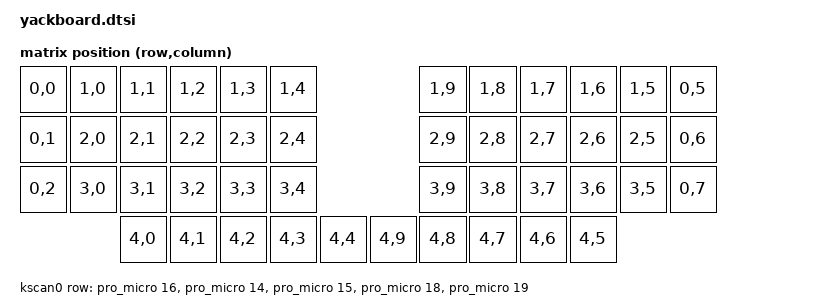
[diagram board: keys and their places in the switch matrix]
#include <dt-bindings/zmk/matrix_transform.h>

#define L_DEF  0
#define L_NUM  1
#define L_NAV  2
#define L_FUN  3
#define L_BLE  4

/ {
  chosen {
    zmk,kscan = &kscan0;
    zmk,matrix_transform = &default_transform;
  };

  default_transform: keymap_transform_0 {
    compatible = "zmk,matrix-transform";
    columns = <10>;
    rows = <5>;

// +-------+-------+-------+-------+-------+-------+                       +-------+-------+-------+-------+-------+-------+
// |       |       |       |       |       |       |                       |       |       |       |       |       |       |
// +-------+-------+-------+-------+-------+-------+                       +-------+-------+-------+-------+-------+-------+
// |       |       |       |       |       |       |                       |       |       |       |       |       |       |
// +-------+-------+-------+-------+-------+-------+                       +-------+-------+-------+-------+-------+-------+
// |       |       |       |       |       |       |                       |       |       |       |       |       |       |
// +-------+-------+-------+-------+-------+-------+-------+       +-------+-------+-------+-------+-------+-------+-------+
//                 |       |       |       |       |       |       |       |       |       |       |       |
//                 +-------+-------+-------+-------+-------+       +-------+-------+-------+-------+-------+

  map = <
    RC(0,0) RC(1,0) RC(1,1) RC(1,2) RC(1,3) RC(1,4)                         RC(1,9) RC(1,8) RC(1,7) RC(1,6) RC(1,5) RC(0,5)
    RC(0,1) RC(2,0) RC(2,1) RC(2,2) RC(2,3) RC(2,4)                         RC(2,9) RC(2,8) RC(2,7) RC(2,6) RC(2,5) RC(0,6)
    RC(0,2) RC(3,0) RC(3,1) RC(3,2) RC(3,3) RC(3,4)                         RC(3,9) RC(3,8) RC(3,7) RC(3,6) RC(3,5) RC(0,7)
                    RC(4,0) RC(4,1) RC(4,2) RC(4,3) RC(4,4)         RC(4,9) RC(4,8) RC(4,7) RC(4,6) RC(4,5)
    >;
  };

  kscan0: kscan_0 {
    compatible = "zmk,kscan-gpio-matrix";
    label = "KSCAN";
    diode-direction = "row2col";

    row-gpios
      = <&pro_micro 16 GPIO_ACTIVE_HIGH>
      , <&pro_micro 14 GPIO_ACTIVE_HIGH>
      , <&pro_micro 15 GPIO_ACTIVE_HIGH>
      , <&pro_micro 18 GPIO_ACTIVE_HIGH>
      , <&pro_micro 19 GPIO_ACTIVE_HIGH>
      ;
  };
};
